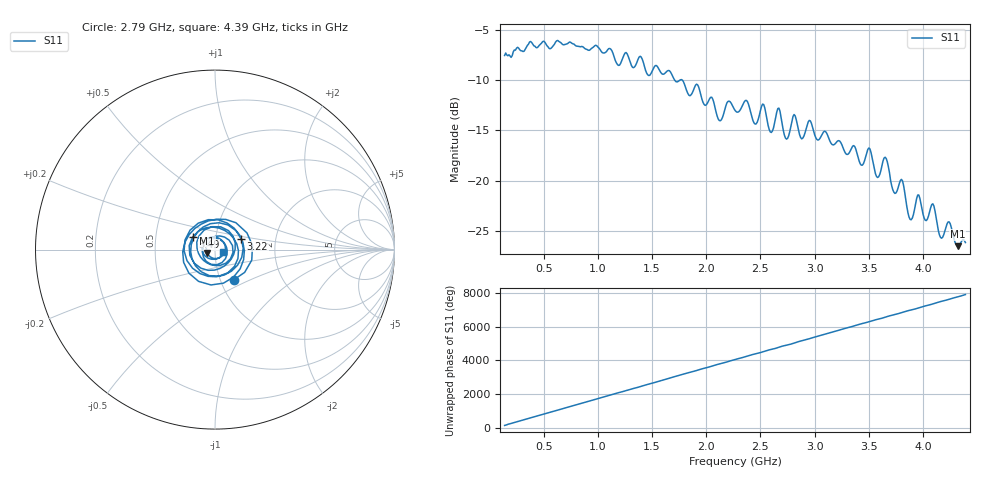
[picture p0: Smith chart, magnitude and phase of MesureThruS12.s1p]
! 140 4400 10
# MHz S MA R 50.0
!freq ReS11 ImS11
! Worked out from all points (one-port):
!   426 points, 140 MHz to 4.39 GHz, reference 50 ohm
!   lowest |S11| = -26.5 dB at 4.32 GHz (marker M1), VSWR 1.10, Z = 45.8 - j1.84 ohm
!   |S11| at or under -10 dB: 1.708 GHz to 1.759 GHz (51.5 MHz wide, 2.97 % of centre); 1.777 GHz to end of sweep
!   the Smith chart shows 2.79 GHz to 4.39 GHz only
!   S11 on the Smith chart (normalised r, x): 2.79 GHz: 1.16, -0.41; 3.22 GHz: 1.33, +0.17; 3.49 GHz: 0.77, +0.11; 4.39 GHz: 1.10, -0.03
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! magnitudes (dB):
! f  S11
! 140 MHz  -7.6
! 680 MHz  -6.5
! 1.21 GHz  -8.4
! 1.74 GHz  -10.1
! 2.12 GHz  -14.0
! 2.27 GHz  -13.1
! 2.37 GHz  -12.0
! 2.45 GHz  -14.4
! 2.52 GHz  -12.4
! 2.6 GHz  -15.2
! 2.67 GHz  -12.8
! 2.74 GHz  -15.9
! 2.79 GHz  -14.1
! 2.8 GHz  -13.6
! 2.88 GHz  -15.8
! 3.22 GHz  -16.0
! 3.33 GHz  -17.0
! 3.49 GHz  -16.9
! 3.58 GHz  -19.7
! 3.66 GHz  -17.8
! 3.74 GHz  -21.2
! 3.8 GHz  -19.9
! 3.86 GHz  -23.2
! 4.09 GHz  -22.3
! 4.16 GHz  -25.6
! 4.24 GHz  -24.1
! 4.32 GHz  -26.5
! 4.39 GHz  -26.1
